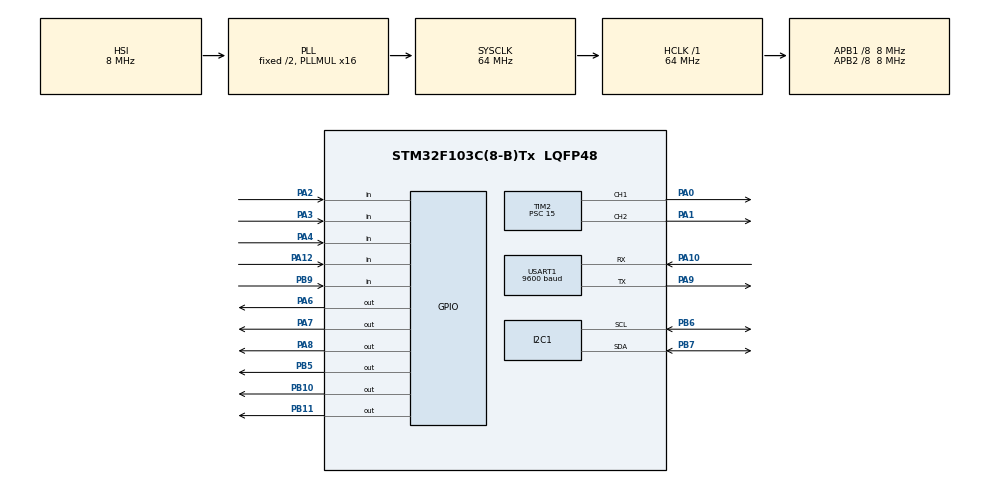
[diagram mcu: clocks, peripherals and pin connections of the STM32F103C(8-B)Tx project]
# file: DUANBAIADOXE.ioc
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Mcu.Family=STM32F1
Mcu.Name=STM32F103C(8-B)Tx
Mcu.Package=LQFP48
NVIC.PriorityGroup=NVIC_PRIORITYGROUP_4
NVIC.USART1_IRQn=true\:0\:0\:false\:false\:true\:true\:true\:true
PA0-WKUP.Signal=S_TIM2_CH1_ETR
PA1.Signal=S_TIM2_CH2
PA10.Mode=Asynchronous
PA10.Signal=USART1_RX
PA12.GPIO_PuPd=GPIO_PULLUP
PA12.Signal=GPIO_Input
PA13.Mode=Serial_Wire
PA13.Signal=SYS_JTMS-SWDIO
PA14.Mode=Serial_Wire
PA14.Signal=SYS_JTCK-SWCLK
PA2.Signal=GPIO_Input
PA3.Signal=GPIO_Input
PA4.Signal=GPIO_Input
PA6.Signal=GPIO_Output
PA7.Signal=GPIO_Output
PA8.Signal=GPIO_Output
PA9.Mode=Asynchronous
PA9.Signal=USART1_TX
PB10.Signal=GPIO_Output
PB11.PinState=GPIO_PIN_SET
PB11.Signal=GPIO_Output
PB5.Signal=GPIO_Output
PB6.Mode=I2C
PB6.Signal=I2C1_SCL
PB7.Mode=I2C
PB7.Signal=I2C1_SDA
PB9.GPIO_PuPd=GPIO_PULLUP
PB9.Signal=GPIO_Input
ProjectManager.HeapSize=0x200
ProjectManager.StackSize=0x400
ProjectManager.TargetToolchain=STM32CubeIDE
RCC.AHBFreq_Value=64000000
RCC.APB1CLKDivider=RCC_HCLK_DIV8
RCC.APB1Freq_Value=8000000
RCC.APB1TimFreq_Value=16000000
RCC.APB2CLKDivider=RCC_HCLK_DIV8
RCC.APB2Freq_Value=8000000
RCC.APB2TimFreq_Value=16000000
RCC.HCLKFreq_Value=64000000
RCC.PLLMUL=RCC_PLL_MUL16
RCC.SYSCLKFreq_VALUE=64000000
RCC.SYSCLKSource=RCC_SYSCLKSOURCE_PLLCLK
RCC.USBFreq_Value=64000000
SH.S_TIM2_CH1_ETR.0=TIM2_CH1,PWM Generation1 CH1
SH.S_TIM2_CH2.0=TIM2_CH2,PWM Generation2 CH2
TIM2.Channel-PWM\ Generation1\ CH1=TIM_CHANNEL_1
TIM2.Channel-PWM\ Generation2\ CH2=TIM_CHANNEL_2
TIM2.Period=19999
TIM2.Prescaler=15
USART1.BaudRate=9600
USART1.VirtualMode=VM_ASYNC
VP_TIM2_VS_ClockSourceINT.Mode=Internal
board=custom

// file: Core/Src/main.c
/* USER CODE BEGIN Header */
/**
  ******************************************************************************
  * @file           : main.c
  * @brief          : Main program body
  ******************************************************************************
  * @attention
  *
  * Copyright (c) 2026 STMicroelectronics.
  * All rights reserved.
  *
  * This software is licensed under terms that can be found in the LICENSE file
  * in the root directory of this software component.
  * If no LICENSE file comes with this software, it is provided AS-IS.
  *
  ******************************************************************************
  */
/* USER CODE END Header */
#include "main.h"

/* USER CODE BEGIN Includes */
#include "i2c-lcd.h"
#include <stdio.h>
#include <string.h>
/* USER CODE END Includes */

I2C_HandleTypeDef hi2c1;

TIM_HandleTypeDef htim2;

UART_HandleTypeDef huart1;

/* USER CODE BEGIN PV */
// --- QUẢN LÝ BÃI XE ---
int tong_so_cho = 4;
int so_cho_hien_tai = 4; // còn trống

// --- TRẠNG THÁI CỔNG 1 (VÀO) ---
uint8_t trang_thai_vao = 0;  // PA2 cảm biến hồng ngoại: 0 là phát hiện xe, 1 là không
uint32_t thoi_gian_cong_vao = 0;

// --- TRẠNG THÁI CỔNG 2 (RA) ---
uint8_t trang_thai_ra = 0;
uint32_t thoi_gian_cong_ra = 0;

// --- CỜ TRẠNG THÁI & ĐÈN ---
uint8_t co_bao_chay = 0; // 0 là ở trạng thái an toàn, 1 chay
uint8_t che_do_den = 0; // 0 auto, 1 Cưỡng bức bật (MAN ON). 2: Cưỡng bức tắt (MAN OFF).
uint32_t thoi_gian_gui_data = 0;

// --- BLUETOOTH CỜ LỆNH & MẬT KHẨU ---
volatile uint8_t lenh_tu_app = 0;
char ky_tu_nhan;
char chuoi_nhan[15];
uint8_t vi_tri_chuoi = 0; // Đóng vai trò như "con trỏ" để biết ký tự tiếp theo sẽ được ghi vào vị trí nào trong mảng chuoi_nhan

// --- BIẾN NGẮT BLUETOOTH TỰ ĐỘNG ---
uint32_t thoi_gian_ngat_app = 0;
uint8_t trang_thai_ngat = 0;
// 0: Trạng thái bình thường, module Bluetooth đang có điện.
// 1: Đang trong quá trình đếm ngược 10 giây để chuẩn bị ngắt.
// 2: Đã ngắt nguồn module (PB11 xuống mức Low) và đang đợi 1 giây để bật lại (Reset kết nối).

extern I2C_HandleTypeDef hi2c1;
extern TIM_HandleTypeDef htim2;
extern UART_HandleTypeDef huart1;
/* USER CODE END PV */

void SystemClock_Config(void);
static void MX_GPIO_Init(void);
static void MX_I2C1_Init(void);
static void MX_TIM2_Init(void);
static void MX_USART1_UART_Init(void);
/* USER CODE BEGIN PFP */
void Update_LCD_Display() {
    char row1[16];
    char row2[16];

    lcd_clear();
    lcd_put_cur(0, 0);
    sprintf(row1, "TONG CHO: %d", tong_so_cho);
    lcd_send_string(row1);

    lcd_put_cur(1, 0);
    if (so_cho_hien_tai <= 0) {
        lcd_send_string("BAI XE DA DAY !");
    } else {
        sprintf(row2, "CON TRONG: %d", so_cho_hien_tai);
        lcd_send_string(row2);
    }
}
/* USER CODE END PFP */

int main(void)
{

  /* MCU Configuration--------------------------------------------------------*/

  /* Reset of all peripherals, Initializes the Flash interface and the Systick. */
   HAL_Init();

  /* Configure the system clock */
  SystemClock_Config();

  /* Initialize all configured peripherals */
  MX_GPIO_Init();
  MX_I2C1_Init();
  MX_TIM2_Init();
  MX_USART1_UART_Init();
  /* USER CODE BEGIN 2 */
  HAL_TIM_PWM_Start(&htim2, TIM_CHANNEL_1);
  HAL_TIM_PWM_Start(&htim2, TIM_CHANNEL_2);

    // Ép 2 Servo ở trạng thái Đóng (1500 cho cổng 1, 500 cho cổng 2 - tuỳ chiều đặt servo của bạn)
    __HAL_TIM_SET_COMPARE(&htim2, TIM_CHANNEL_1, 1500);
    __HAL_TIM_SET_COMPARE(&htim2, TIM_CHANNEL_2, 500);

    // TẮT CÒI NGAY LÚC KHỞI ĐỘNG: PB5 CÒI
    HAL_GPIO_WritePin(GPIOB, GPIO_PIN_5, GPIO_PIN_SET);

    // Ép chân PB11 lên mức High (3.3V) để bật nguồn module Bluetooth PB11: bluetooth
    HAL_GPIO_WritePin(GPIOB, GPIO_PIN_11, GPIO_PIN_SET);

    // Mở cổng nhận Bluetooth lần đầu tiên
    // Giao thức Uart, Lắng nghe ký tự mật khẩu từ App điện thoại gửi qua Bluetooth.
    HAL_UART_Receive_IT(&huart1, (uint8_t *)&ky_tu_nhan, 1);

    lcd_init();
    Update_LCD_Display();
  /* USER CODE END 2 */

  /* Infinite loop */
  while (1)
  {

    /* USER CODE BEGIN 3 */
	  // ==========================================
	        // 0. XỬ LÝ LỆNH TỪ APP QUẢN LÝ (ADMIN)
	        // ==========================================
	        if (lenh_tu_app == 4) // Lệnh ADMIN Mở Toàn Bộ (Pass: 888888)
	        {
	            lenh_tu_app = 0;
	            lcd_clear(); lcd_put_cur(0, 0); lcd_send_string("ADMIN: MO 2 CONG");

	            __HAL_TIM_SET_COMPARE(&htim2, TIM_CHANNEL_1, 500);
	            __HAL_TIM_SET_COMPARE(&htim2, TIM_CHANNEL_2, 1500);
	            HAL_GPIO_WritePin(GPIOA, GPIO_PIN_6, GPIO_PIN_SET);

	            trang_thai_vao = 2; trang_thai_ra = 2;
	            thoi_gian_cong_vao = HAL_GetTick(); thoi_gian_cong_ra = HAL_GetTick();
	        }
	        else if (lenh_tu_app == 5) // Lệnh ADMIN Mở Cổng Vào (Gate 1)
	        {
	            lenh_tu_app = 0;
	            lcd_clear(); lcd_put_cur(0, 0); lcd_send_string("ADMIN: MO CONG 1");

	            __HAL_TIM_SET_COMPARE(&htim2, TIM_CHANNEL_1, 500);
	            HAL_GPIO_WritePin(GPIOA, GPIO_PIN_6, GPIO_PIN_SET);

	            trang_thai_vao = 2;
	            thoi_gian_cong_vao = HAL_GetTick();
	        }
	        else if (lenh_tu_app == 6) // Lệnh ADMIN Mở Cổng Ra (Gate 2)
	        {
	            lenh_tu_app = 0;
	            lcd_clear(); lcd_put_cur(0, 0); lcd_send_string("ADMIN: MO CONG 2");

	            __HAL_TIM_SET_COMPARE(&htim2, TIM_CHANNEL_2, 1500);
	            HAL_GPIO_WritePin(GPIOA, GPIO_PIN_6, GPIO_PIN_SET);

	            trang_thai_ra = 2;
	            thoi_gian_cong_ra = HAL_GetTick();
	        }
	        else if (lenh_tu_app == 7) // Lệnh ADMIN Đóng 2 Cổng Khẩn Cấp
	        {
	            lenh_tu_app = 0;
	            lcd_clear(); lcd_put_cur(0, 0); lcd_send_string("ADMIN: DONG CONG");

	            __HAL_TIM_SET_COMPARE(&htim2, TIM_CHANNEL_1, 1500); // Hạ G1
	            __HAL_TIM_SET_COMPARE(&htim2, TIM_CHANNEL_2, 500);  // Hạ G2
	            HAL_GPIO_WritePin(GPIOA, GPIO_PIN_6, GPIO_PIN_RESET);

	            trang_thai_vao = 0; // Reset trạng thái để nhận xe mới
	            trang_thai_ra = 0;

	            HAL_Delay(1500); // Dừng màn hình 1.5s cho dễ đọc
	            Update_LCD_Display();
	        }
	        else if (lenh_tu_app == 2) // Lệnh ADMIN Chuyển Chế Độ Đèn
	        {
	            lenh_tu_app = 0;
	            che_do_den++;
	            if (che_do_den > 2) che_do_den = 0;

	            lcd_clear(); lcd_put_cur(0, 0);
	            if (che_do_den == 0) lcd_send_string("DEN SAN: AUTO   ");
	            else if (che_do_den == 1) lcd_send_string("DEN SAN: MAN ON ");
	            else if (che_do_den == 2) lcd_send_string("DEN SAN: MAN OFF");

	            HAL_Delay(1500);
	            Update_LCD_Display();
	        }
	      // ==========================================
	      // 1. LOGIC CỔNG 1 - ĐI VÀO (QUYỀN USER)
	      // ==========================================
	      if (trang_thai_vao == 0)
	      {
	    	  // reset: phát hiện vật cản
	          if (HAL_GPIO_ReadPin(GPIOA, GPIO_PIN_2) == GPIO_PIN_RESET && so_cho_hien_tai > 0)
	          {
	              lcd_put_cur(1, 0);
	              lcd_send_string("NHAP PASS APP...");
	              lenh_tu_app = 0;
	              trang_thai_vao = 1;
	          }
	      }

	      else if (trang_thai_vao == 1)
	      {
	          if (HAL_GPIO_ReadPin(GPIOA, GPIO_PIN_2) == GPIO_PIN_SET)
	          {
	              trang_thai_vao = 0;
	              Update_LCD_Display();
	          }
	          else if (lenh_tu_app == 1) // QUYỀN USER: NHẬP ĐÚNG PASS (123456)
	          {
	              lenh_tu_app = 0;
	              __HAL_TIM_SET_COMPARE(&htim2, TIM_CHANNEL_1, 500);
	              HAL_GPIO_WritePin(GPIOA, GPIO_PIN_6, GPIO_PIN_SET);

	              lcd_put_cur(1, 0);
	              lcd_send_string("PASS DUNG! MO.. ");

	              // Kích hoạt hẹn giờ 10s tự ngắt Bluetooth
	              thoi_gian_ngat_app = HAL_GetTick();
	              trang_thai_ngat = 1;

	              trang_thai_vao = 2;
	          }
	          else if (lenh_tu_app == 3) // NHẬP SAI MẬT KHẨU HOẶC KHÔNG CÓ QUYỀN
	          {
	              lenh_tu_app = 0;
	              HAL_GPIO_WritePin(GPIOB, GPIO_PIN_5, GPIO_PIN_RESET);
	              HAL_Delay(100); HAL_GPIO_WritePin(GPIOB, GPIO_PIN_5, GPIO_PIN_SET); HAL_Delay(100);
	              HAL_GPIO_WritePin(GPIOB, GPIO_PIN_5, GPIO_PIN_RESET);
	              HAL_Delay(100); HAL_GPIO_WritePin(GPIOB, GPIO_PIN_5, GPIO_PIN_SET);

	              lcd_put_cur(1, 0);
	              lcd_send_string("SAI MAT KHAU!!");
	              HAL_Delay(1500);

	              lcd_put_cur(1, 0);
	              lcd_send_string("NHAP PASS APP...");
	          }
	      }

	      // xác nhận xe đã qua cổng an toàn và thực hiện đóng Barie tự động
	      else if (trang_thai_vao == 2)
	      {
	          if (HAL_GPIO_ReadPin(GPIOA, GPIO_PIN_2) == GPIO_PIN_SET)
	          {
	              thoi_gian_cong_vao = HAL_GetTick();
	              trang_thai_vao = 3;
	          }
	      }

	      else if (trang_thai_vao == 3)
	      {
	    	  // đảm bảo việc luôn mở nếu hồng ngoại phát hiện đi lùi
	          if (HAL_GPIO_ReadPin(GPIOA, GPIO_PIN_2) == GPIO_PIN_RESET)
	          {
	              trang_thai_vao = 2;
	          }
	          else if (HAL_GetTick() - thoi_gian_cong_vao >= 1500)
	          {
	              __HAL_TIM_SET_COMPARE(&htim2, TIM_CHANNEL_1, 1500);
	              HAL_GPIO_WritePin(GPIOA, GPIO_PIN_6, GPIO_PIN_RESET);

	              so_cho_hien_tai--;
	              Update_LCD_Display();
	              trang_thai_vao = 0;
	          }
	      }

	      // ==========================================
	      // 2. LOGIC CỔNG 2 - ĐI RA (TỰ ĐỘNG KHÔNG PASS)
	      // ==========================================
	      if (trang_thai_ra == 0)
	      {
	          if (HAL_GPIO_ReadPin(GPIOA, GPIO_PIN_3) == GPIO_PIN_RESET && so_cho_hien_tai < tong_so_cho)
	          {
	              __HAL_TIM_SET_COMPARE(&htim2, TIM_CHANNEL_2, 1500);
	              HAL_GPIO_WritePin(GPIOA, GPIO_PIN_6, GPIO_PIN_SET);
	              trang_thai_ra = 1;
	          }
	      }
	      else if (trang_thai_ra == 1)
	      {
	          if (HAL_GPIO_ReadPin(GPIOA, GPIO_PIN_3) == GPIO_PIN_SET)
	          {
	              thoi_gian_cong_ra = HAL_GetTick();
	              trang_thai_ra = 2;
	          }
	      }
	      else if (trang_thai_ra == 2)
	      {
	          if (HAL_GPIO_ReadPin(GPIOA, GPIO_PIN_3) == GPIO_PIN_RESET)
	          {
	              trang_thai_ra = 1;
	          }
	          else if (HAL_GetTick() - thoi_gian_cong_ra >= 1500)
	          {
	              __HAL_TIM_SET_COMPARE(&htim2, TIM_CHANNEL_2, 500);
	              HAL_GPIO_WritePin(GPIOA, GPIO_PIN_6, GPIO_PIN_RESET);
	              so_cho_hien_tai++;
	              Update_LCD_Display();
	              trang_thai_ra = 0;
	          }
	      }

	      // ==========================================
	      // 3. LOGIC BÁO CHÁY (PA12) VÀ NÚT TẮT (PB9)
	      // ==========================================
	      if (HAL_GPIO_ReadPin(GPIOA, GPIO_PIN_12) == GPIO_PIN_RESET) co_bao_chay = 1;

	      if (co_bao_chay == 1)
	      {
	          lcd_clear();
	          lcd_put_cur(0, 0); lcd_send_string("!!! CO CHAY !!!");
	          lcd_put_cur(1, 0); lcd_send_string(" PB9 DE TAT... ");

	          __HAL_TIM_SET_COMPARE(&htim2, TIM_CHANNEL_1, 500);
	          __HAL_TIM_SET_COMPARE(&htim2, TIM_CHANNEL_2, 1500);

	          while (co_bao_chay == 1)
	          {
	              HAL_GPIO_TogglePin(GPIOA, GPIO_PIN_8); // Nháy Đỏ PA8
	              HAL_GPIO_TogglePin(GPIOB, GPIO_PIN_5); // Nháy Còi PB5

	              // 200ms, chia thành 20 khoảng, kiểm tra ở từng khoảng xem nút pb9 có được nhấn hay không
	              for (int i = 0; i < 20; i++)
	              {
	                  if (HAL_GPIO_ReadPin(GPIOB, GPIO_PIN_9) == GPIO_PIN_RESET)
	                  {
	                      co_bao_chay = 0;
	                      break;
	                  }
	                  HAL_Delay(10);
	              }
	          }
	          HAL_GPIO_WritePin(GPIOA, GPIO_PIN_8, GPIO_PIN_RESET); // led đỏ tắt
	          HAL_GPIO_WritePin(GPIOB, GPIO_PIN_5, GPIO_PIN_SET); // còi tắt

	          __HAL_TIM_SET_COMPARE(&htim2, TIM_CHANNEL_1, 1500);
	          __HAL_TIM_SET_COMPARE(&htim2, TIM_CHANNEL_2, 500);

	          trang_thai_vao = 0;
	          trang_thai_ra = 0;
	          Update_LCD_Display();
	      }

	      // ==========================================
	      // 4. NÚT MỞ CỔNG THỦ CÔNG (PB9)
	      // ==========================================
	      if (co_bao_chay == 0 && HAL_GPIO_ReadPin(GPIOB, GPIO_PIN_9) == GPIO_PIN_RESET)
	      {
	          HAL_GPIO_WritePin(GPIOB, GPIO_PIN_5, GPIO_PIN_RESET); // bíp để thông báo đã nhận lệnh
	          HAL_Delay(100);
	          HAL_GPIO_WritePin(GPIOB, GPIO_PIN_5, GPIO_PIN_SET);

	          __HAL_TIM_SET_COMPARE(&htim2, TIM_CHANNEL_1, 500);
	          __HAL_TIM_SET_COMPARE(&htim2, TIM_CHANNEL_2, 1500);
	          HAL_GPIO_WritePin(GPIOA, GPIO_PIN_6, GPIO_PIN_SET);

	          trang_thai_vao = 2;
	          trang_thai_ra = 2;
	          // Chừng nào người quản lý còn nhấn giữ nút PB9, chương trình sẽ "treo" tại vòng lặp này.
	          // nếu bật lên thì tính toán thời gian ra vào cổng
	          while(HAL_GPIO_ReadPin(GPIOB, GPIO_PIN_9) == GPIO_PIN_RESET)
	          {
	              thoi_gian_cong_vao = HAL_GetTick();
	              thoi_gian_cong_ra = HAL_GetTick();
	              HAL_Delay(10);
	          }
	      }

	      // ==========================================
	      // 5. LOGIC ĐÈN SÂN BÃI (PB10) VÀ LDR (PA4)
	      // ==========================================
	      if (che_do_den == 0) // AUTO
	      {
	          if (HAL_GPIO_ReadPin(GPIOA, GPIO_PIN_4) == GPIO_PIN_SET) HAL_GPIO_WritePin(GPIOB, GPIO_PIN_10, GPIO_PIN_SET);
	          else HAL_GPIO_WritePin(GPIOB, GPIO_PIN_10, GPIO_PIN_RESET);
	      }
	      else if (che_do_den == 1) HAL_GPIO_WritePin(GPIOB, GPIO_PIN_10, GPIO_PIN_SET);   // MAN ON
	      else if (che_do_den == 2) HAL_GPIO_WritePin(GPIOB, GPIO_PIN_10, GPIO_PIN_RESET); // MAN OFF

	      // ==========================================
	      // 6. GỬI DATA LÊN APP SAU MỖI 30S
	      // ==========================================
	      if (HAL_GetTick() - thoi_gian_gui_data >= 30000)
	      {
	          thoi_gian_gui_data = HAL_GetTick();
	          char bt_msg[60];
	          sprintf(bt_msg, "=> TONG CHO: %d | CON TRONG: %d \r\n", tong_so_cho, so_cho_hien_tai);
	          HAL_UART_Transmit(&huart1, (uint8_t *)bt_msg, strlen(bt_msg), 100);
	      }

	      // ==========================================
	      // 7. TỰ ĐỘNG "ĐÁ VĂNG" BLUETOOTH SAU 10 GIÂY
	      // ==========================================
	      if (trang_thai_ngat == 1 && (HAL_GetTick() - thoi_gian_ngat_app >= 10000))
	      {
	          HAL_GPIO_WritePin(GPIOB, GPIO_PIN_11, GPIO_PIN_RESET); // Cúp điện module BT

	          thoi_gian_ngat_app = HAL_GetTick();
	          trang_thai_ngat = 2;

	          lcd_put_cur(1, 0);
	          lcd_send_string(" DA NGAT BLUET! ");
	      }
	      else if (trang_thai_ngat == 2 && (HAL_GetTick() - thoi_gian_ngat_app >= 1000))
	      {
	          HAL_GPIO_WritePin(GPIOB, GPIO_PIN_11, GPIO_PIN_SET); // Bật điện lại sau 1s
	          trang_thai_ngat = 0;

	          Update_LCD_Display();
	      }

	      HAL_Delay(20);
  }
}
  /* USER CODE END 3 */

void SystemClock_Config(void)
{
  RCC_OscInitTypeDef RCC_OscInitStruct = {0};
  RCC_ClkInitTypeDef RCC_ClkInitStruct = {0};

  /** Initializes the RCC Oscillators according to the specified parameters
  * in the RCC_OscInitTypeDef structure.
  */
  RCC_OscInitStruct.OscillatorType = RCC_OSCILLATORTYPE_HSI;
  RCC_OscInitStruct.HSIState = RCC_HSI_ON;
  RCC_OscInitStruct.HSICalibrationValue = RCC_HSICALIBRATION_DEFAULT;
  RCC_OscInitStruct.PLL.PLLState = RCC_PLL_ON;
  RCC_OscInitStruct.PLL.PLLSource = RCC_PLLSOURCE_HSI_DIV2;
  RCC_OscInitStruct.PLL.PLLMUL = RCC_PLL_MUL16;
  if (HAL_RCC_OscConfig(&RCC_OscInitStruct) != HAL_OK)
  {
    Error_Handler();
  }

  /** Initializes the CPU, AHB and APB buses clocks
  */
  RCC_ClkInitStruct.ClockType = RCC_CLOCKTYPE_HCLK|RCC_CLOCKTYPE_SYSCLK
                              |RCC_CLOCKTYPE_PCLK1|RCC_CLOCKTYPE_PCLK2;
  RCC_ClkInitStruct.SYSCLKSource = RCC_SYSCLKSOURCE_PLLCLK;
  RCC_ClkInitStruct.AHBCLKDivider = RCC_SYSCLK_DIV1;
  RCC_ClkInitStruct.APB1CLKDivider = RCC_HCLK_DIV8;
  RCC_ClkInitStruct.APB2CLKDivider = RCC_HCLK_DIV8;

  if (HAL_RCC_ClockConfig(&RCC_ClkInitStruct, FLASH_LATENCY_2) != HAL_OK)
  {
    Error_Handler();
  }
}

static void MX_I2C1_Init(void)
{

  hi2c1.Instance = I2C1;
  hi2c1.Init.ClockSpeed = 100000;
  hi2c1.Init.DutyCycle = I2C_DUTYCYCLE_2;
  hi2c1.Init.OwnAddress1 = 0;
  hi2c1.Init.AddressingMode = I2C_ADDRESSINGMODE_7BIT;
  hi2c1.Init.DualAddressMode = I2C_DUALADDRESS_DISABLE;
  hi2c1.Init.OwnAddress2 = 0;
  hi2c1.Init.GeneralCallMode = I2C_GENERALCALL_DISABLE;
  hi2c1.Init.NoStretchMode = I2C_NOSTRETCH_DISABLE;
  if (HAL_I2C_Init(&hi2c1) != HAL_OK)
  {
    Error_Handler();
  }

}

static void MX_TIM2_Init(void)
{

  TIM_ClockConfigTypeDef sClockSourceConfig = {0};
  TIM_MasterConfigTypeDef sMasterConfig = {0};
  TIM_OC_InitTypeDef sConfigOC = {0};

  htim2.Instance = TIM2;
  htim2.Init.Prescaler = 15;
  htim2.Init.CounterMode = TIM_COUNTERMODE_UP;
  htim2.Init.Period = 19999;
  htim2.Init.ClockDivision = TIM_CLOCKDIVISION_DIV1;
  htim2.Init.AutoReloadPreload = TIM_AUTORELOAD_PRELOAD_DISABLE;
  if (HAL_TIM_Base_Init(&htim2) != HAL_OK)
  {
    Error_Handler();
  }
  sClockSourceConfig.ClockSource = TIM_CLOCKSOURCE_INTERNAL;
  if (HAL_TIM_ConfigClockSource(&htim2, &sClockSourceConfig) != HAL_OK)
  {
    Error_Handler();
  }
  if (HAL_TIM_PWM_Init(&htim2) != HAL_OK)
  {
    Error_Handler();
  }
  sMasterConfig.MasterOutputTrigger = TIM_TRGO_RESET;
  sMasterConfig.MasterSlaveMode = TIM_MASTERSLAVEMODE_DISABLE;
  if (HAL_TIMEx_MasterConfigSynchronization(&htim2, &sMasterConfig) != HAL_OK)
  {
    Error_Handler();
  }
  sConfigOC.OCMode = TIM_OCMODE_PWM1;
  sConfigOC.Pulse = 0;
  sConfigOC.OCPolarity = TIM_OCPOLARITY_HIGH;
  sConfigOC.OCFastMode = TIM_OCFAST_DISABLE;
  if (HAL_TIM_PWM_ConfigChannel(&htim2, &sConfigOC, TIM_CHANNEL_1) != HAL_OK)
  {
    Error_Handler();
  }
  if (HAL_TIM_PWM_ConfigChannel(&htim2, &sConfigOC, TIM_CHANNEL_2) != HAL_OK)
  {
    Error_Handler();
  }
  HAL_TIM_MspPostInit(&htim2);

}

static void MX_USART1_UART_Init(void)
{

  huart1.Instance = USART1;
  huart1.Init.BaudRate = 9600;
  huart1.Init.WordLength = UART_WORDLENGTH_8B;
  huart1.Init.StopBits = UART_STOPBITS_1;
  huart1.Init.Parity = UART_PARITY_NONE;
  huart1.Init.Mode = UART_MODE_TX_RX;
  huart1.Init.HwFlowCtl = UART_HWCONTROL_NONE;
  huart1.Init.OverSampling = UART_OVERSAMPLING_16;
  if (HAL_UART_Init(&huart1) != HAL_OK)
  {
    Error_Handler();
  }

}

static void MX_GPIO_Init(void)
{
  GPIO_InitTypeDef GPIO_InitStruct = {0};

  /* GPIO Ports Clock Enable */
  __HAL_RCC_GPIOA_CLK_ENABLE();
  __HAL_RCC_GPIOB_CLK_ENABLE();

  /*Configure GPIO pin Output Level */
  HAL_GPIO_WritePin(GPIOA, GPIO_PIN_6|GPIO_PIN_7|GPIO_PIN_8, GPIO_PIN_RESET);

  /*Configure GPIO pin Output Level */
  HAL_GPIO_WritePin(GPIOB, GPIO_PIN_10|GPIO_PIN_5, GPIO_PIN_RESET);

  /*Configure GPIO pin Output Level */
  HAL_GPIO_WritePin(GPIOB, GPIO_PIN_11, GPIO_PIN_SET);

  /*Configure GPIO pins : PA2 PA3 PA4 */
  GPIO_InitStruct.Pin = GPIO_PIN_2|GPIO_PIN_3|GPIO_PIN_4;
  GPIO_InitStruct.Mode = GPIO_MODE_INPUT;
  GPIO_InitStruct.Pull = GPIO_NOPULL;
  HAL_GPIO_Init(GPIOA, &GPIO_InitStruct);

  /*Configure GPIO pins : PA6 PA7 PA8 */
  GPIO_InitStruct.Pin = GPIO_PIN_6|GPIO_PIN_7|GPIO_PIN_8;
  GPIO_InitStruct.Mode = GPIO_MODE_OUTPUT_PP;
  GPIO_InitStruct.Pull = GPIO_NOPULL;
  GPIO_InitStruct.Speed = GPIO_SPEED_FREQ_LOW;
  HAL_GPIO_Init(GPIOA, &GPIO_InitStruct);

  /*Configure GPIO pins : PB10 PB11 PB5 */
  GPIO_InitStruct.Pin = GPIO_PIN_10|GPIO_PIN_11|GPIO_PIN_5;
  GPIO_InitStruct.Mode = GPIO_MODE_OUTPUT_PP;
  GPIO_InitStruct.Pull = GPIO_NOPULL;
  GPIO_InitStruct.Speed = GPIO_SPEED_FREQ_LOW;
  HAL_GPIO_Init(GPIOB, &GPIO_InitStruct);

  /*Configure GPIO pin : PA12 */
  GPIO_InitStruct.Pin = GPIO_PIN_12;
  GPIO_InitStruct.Mode = GPIO_MODE_INPUT;
  GPIO_InitStruct.Pull = GPIO_PULLUP;
  HAL_GPIO_Init(GPIOA, &GPIO_InitStruct);

  /*Configure GPIO pin : PB9 */
  GPIO_InitStruct.Pin = GPIO_PIN_9;
  GPIO_InitStruct.Mode = GPIO_MODE_INPUT;
  GPIO_InitStruct.Pull = GPIO_PULLUP;
  HAL_GPIO_Init(GPIOB, &GPIO_InitStruct);

}

/* USER CODE BEGIN 4 */
void HAL_UART_RxCpltCallback(UART_HandleTypeDef *huart)
{
    if (huart->Instance == USART1)
    {
        if (ky_tu_nhan == '*')
        {
            vi_tri_chuoi = 0;
            memset(chuoi_nhan, 0, sizeof(chuoi_nhan));
        }
        else if (ky_tu_nhan == '#')
        {
            chuoi_nhan[vi_tri_chuoi] = '\0';

            // --- KIỂM TRA MÃ TỪ APP ---
            if (strcmp(chuoi_nhan, "123456") == 0) lenh_tu_app = 1;         // USER: Mở cổng 1
            else if (strcmp(chuoi_nhan, "888888") == 0) lenh_tu_app = 4;    // ADMIN: Mở 2 cổng
            else if (strcmp(chuoi_nhan, "888888DEN") == 0) lenh_tu_app = 2; // ADMIN: Chỉnh đèn
            else if (strcmp(chuoi_nhan, "888888IN") == 0) lenh_tu_app = 5;  // ADMIN: Mở Cổng Vào
            else if (strcmp(chuoi_nhan, "888888OUT") == 0) lenh_tu_app = 6; // ADMIN: Mở Cổng Ra
            else if (strcmp(chuoi_nhan, "888888CLOSE") == 0) lenh_tu_app = 7;// ADMIN: Đóng 2 cổng
            else lenh_tu_app = 3; // SAI PASS (Tự động còi kêu và báo lỗi ở mục 1)

            vi_tri_chuoi = 0;
        }
        else
        {
            if (vi_tri_chuoi < 14)
            {
                chuoi_nhan[vi_tri_chuoi] = ky_tu_nhan;
                vi_tri_chuoi++;
            }
        }
        HAL_UART_Receive_IT(&huart1, (uint8_t *)&ky_tu_nhan, 1);
    }
}

void HAL_UART_ErrorCallback(UART_HandleTypeDef *huart)
{
    if (huart->Instance == USART1)
    {
        __HAL_UART_CLEAR_OREFLAG(huart);
        HAL_UART_Receive_IT(huart, (uint8_t *)&ky_tu_nhan, 1);
    }
}
/* USER CODE END 4 */

void Error_Handler(void)
{
  __disable_irq();
  while (1)
  {
  }
}
